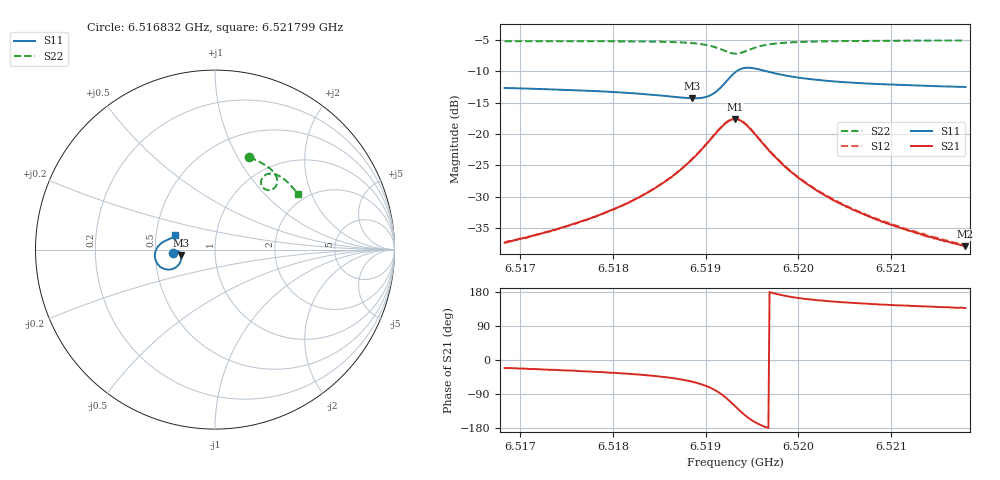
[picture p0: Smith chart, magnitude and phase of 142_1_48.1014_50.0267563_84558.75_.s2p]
#  HZ  S  RI  R  50.00
! Rohde & Schwarz Vector Network Analyzer
! Rohde-Schwarz,ZNB20-2Port,1311601062101988,3.16
! Created: UTC 12/23/2023, 3:48:51 AM
! freq[Hz]  re:S11  im:S11  re:S21  im:S21  re:S12  im:S12  re:S22  im:S22
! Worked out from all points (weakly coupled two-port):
!   401 points, 6.516832 GHz to 6.521799 GHz, reference 50 ohm
!   highest |S21| = -17.63 dB at 6.519316 GHz (marker M1); lowest = -37.9 dB at 6.521799 GHz (marker M2)
!   lowest |S11| = -14.3 dB at 6.518856 GHz (marker M3), VSWR 1.48, Z = 34 - j2.22 ohm
!   |S11| at or under -10 dB: start of sweep to 6.519334 GHz; 6.519652 GHz to end of sweep
!   |S22| runs from -7.2 to -5.1 dB; largest |S21 - S12| = 0.004
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6.5168325e9  -0.2315 -0.0203  0.0127 -0.00488  0.0128 -0.00444  0.1915 0.5135
6.5173043e9  -0.2267 -0.0132  0.015 -0.00716  0.0151 -0.00664  0.2263 0.4995
6.5176644e9  -0.2218 -0.00871  0.0175 -0.00999  0.0178 -0.00925  0.2531 0.4868
6.5181363e9  -0.2128 -0.00602  0.0223 -0.0162  0.0228 -0.0156  0.2883 0.4653
6.5184964e9  -0.2027 -0.00969  0.0281 -0.0267  0.029 -0.0257  0.3161 0.4427
6.5186702e9  -0.1965 -0.0162  0.0314 -0.0359  0.0327 -0.0349  0.3295 0.4275
6.5188565e9  -0.1896 -0.0314  0.034 -0.053  0.0359 -0.0522  0.3425 0.4045
6.5189806e9  -0.1886 -0.0505  0.0315 -0.0719  0.034 -0.0714  0.3466 0.3826
6.51908e9  -0.1955 -0.0735  0.0218 -0.0928  0.0247 -0.093  0.3426 0.3603
6.5192166e9  -0.2361 -0.1079  -0.0198 -0.1203  -0.0163 -0.1218  0.3118 0.3328
6.5192662e9  -0.2625 -0.1114  -0.0443 -0.1209  -0.0411 -0.1231  0.2931 0.3317
6.5193159e9  -0.2909 -0.1043  -0.0689 -0.1117  -0.0663 -0.1145  0.2745 0.3392
6.5193656e9  -0.3149 -0.0867  -0.0883 -0.0938  -0.0863 -0.097  0.2614 0.3541
6.5194277e9  -0.3318 -0.0567  -0.1 -0.066  -0.0989 -0.0695  0.2563 0.3771
6.5195394e9  -0.3313 -0.00872  -0.0944 -0.0251  -0.0944 -0.0281  0.2703 0.4079
6.5196388e9  -0.3176 0.0174  -0.0801 -0.00514  -0.0804 -0.00748  0.2904 0.4203
6.5198747e9  -0.2876 0.0433  -0.0521 0.0108  -0.053 0.00936  0.3293 0.4213
6.5201479e9  -0.2668 0.0536  -0.035 0.0132  -0.0357 0.0125  0.3599 0.4091
6.520508e9  -0.2509 0.0604  -0.0234 0.0124  -0.024 0.0119  0.3889 0.389
6.5209798e9  -0.2383 0.0676  -0.0156 0.0108  -0.0163 0.0105  0.4191 0.3613
6.521402e9  -0.2298 0.0734  -0.0118 0.00953  -0.0121 0.00943  0.4419 0.3357
6.5217994e9  -0.2232 0.0789  -0.00931 0.00867  -0.00978 0.00852  0.4611 0.3111
